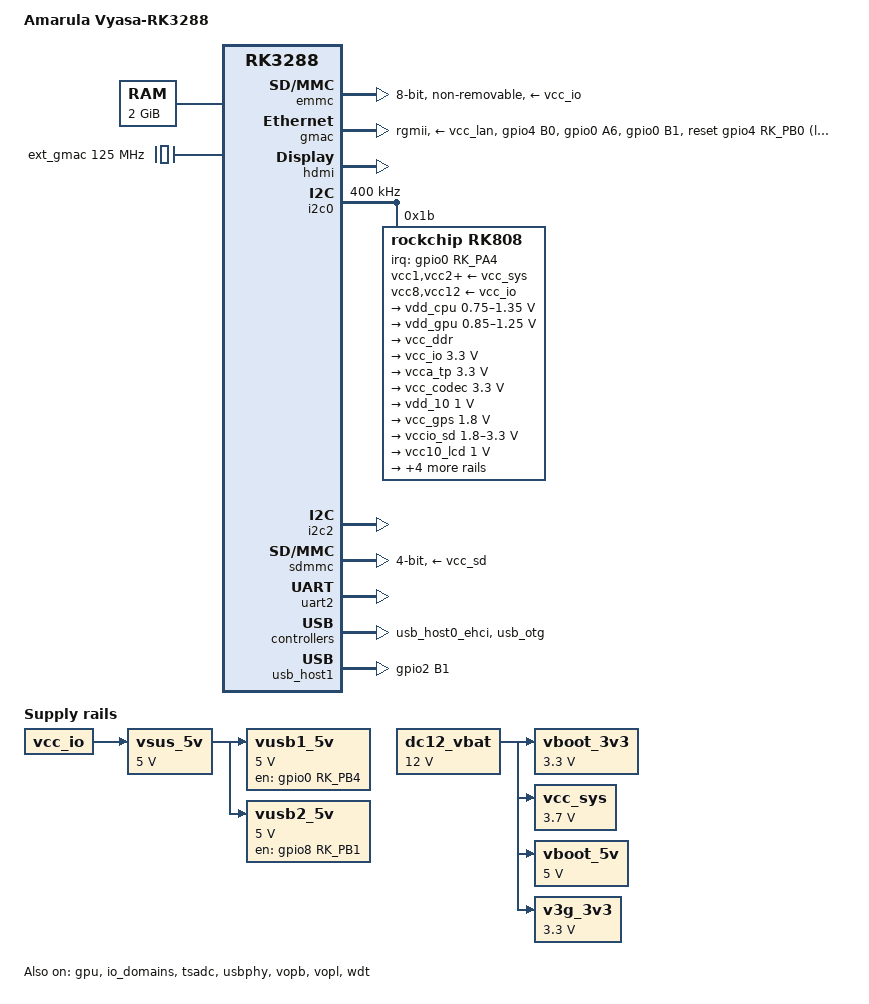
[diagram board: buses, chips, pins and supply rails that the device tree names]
// SPDX-License-Identifier: (GPL-2.0+ OR MIT)
/*
 * Copyright (C) 2017 Jagan Teki <jagan@amarulasolutions.com>
 */

/dts-v1/;
#include "rk3288.dtsi"

/ {
	model = "Amarula Vyasa-RK3288";
	compatible = "amarula,vyasa-rk3288", "rockchip,rk3288";

	chosen {
		stdout-path = &uart2;
	};

	memory {
		reg = <0x0 0x0 0x0 0x80000000>;
		device_type = "memory";
	};

	dc12_vbat: dc12-vbat {
		compatible = "regulator-fixed";
		regulator-name = "dc12_vbat";
		regulator-min-microvolt = <12000000>;
		regulator-max-microvolt = <12000000>;
		regulator-always-on;
		regulator-boot-on;
	};

	vboot_3v3: vboot-3v3 {
		compatible = "regulator-fixed";
		regulator-name = "vboot_3v3";
		regulator-min-microvolt = <3300000>;
		regulator-max-microvolt = <3300000>;
		regulator-always-on;
		regulator-boot-on;
		vin-supply = <&dc12_vbat>;
	};

	vcc_sys: vsys-regulator {
		compatible = "regulator-fixed";
		regulator-name = "vcc_sys";
		regulator-min-microvolt = <3700000>;
		regulator-max-microvolt = <3700000>;
		regulator-always-on;
		regulator-boot-on;
		vin-supply = <&dc12_vbat>;
	};

	vboot_5v: vboot-5v {
		compatible = "regulator-fixed";
		regulator-name = "vboot_sv";
		regulator-min-microvolt = <5000000>;
		regulator-max-microvolt = <5000000>;
		regulator-always-on;
		regulator-boot-on;
		vin-supply = <&dc12_vbat>;
	};

	v3g_3v3: v3g-3v3 {
		compatible = "regulator-fixed";
		regulator-name = "v3g_3v3";
		regulator-min-microvolt = <3300000>;
		regulator-max-microvolt = <3300000>;
		regulator-always-on;
		regulator-boot-on;
		vin-supply = <&dc12_vbat>;
	};

	vsus_5v: vsus-5v {
		compatible = "regulator-fixed";
		regulator-name = "vsus_5v";
		regulator-min-microvolt = <5000000>;
		regulator-max-microvolt = <5000000>;
		regulator-always-on;
		regulator-boot-on;
		vin-supply = <&vcc_io>;
	};

	vusb1_5v: vusb1-5v {
		compatible = "regulator-fixed";
		regulator-name = "vusb1_5v";
		enable-active-high;
		gpio = <&gpio0 RK_PB4 GPIO_ACTIVE_HIGH>; /* OTG_VBUS_DRV */
		pinctrl-names = "default";
		pinctrl-0 = <&otg_vbus_drv>;
		regulator-min-microvolt = <5000000>;
		regulator-max-microvolt = <5000000>;
		regulator-always-on;
		regulator-boot-on;
		vin-supply = <&vsus_5v>;
	};

	vusb2_5v: vusb2-5v {
		compatible = "regulator-fixed";
		regulator-name = "vusb2_5v";
		enable-active-high;
		gpio = <&gpio8 RK_PB1 GPIO_ACTIVE_HIGH>; /* USB2_PWR_EN */
		pinctrl-names = "default";
		pinctrl-0 = <&usb2_pwr_en>;
		regulator-min-microvolt = <5000000>;
		regulator-max-microvolt = <5000000>;
		regulator-always-on;
		regulator-boot-on;
		vin-supply = <&vsus_5v>;
	};

	ext_gmac: external-gmac-clock {
		compatible = "fixed-clock";
		#clock-cells = <0>;
		clock-frequency = <125000000>;
		clock-output-names = "ext_gmac";
	};
};

&cpu0 {
	cpu0-supply = <&vdd_cpu>;
};

&emmc {
	bus-width = <8>;
	cap-mmc-highspeed;
	non-removable;
	pinctrl-names = "default";
	pinctrl-0 = <&emmc_clk &emmc_cmd &emmc_pwr &emmc_bus8>;
	vmmc-supply = <&vcc_io>;
	status = "okay";
};

&gmac {
	assigned-clocks = <&cru SCLK_MAC>;
	assigned-clock-parents = <&ext_gmac>;
	clock_in_out = "input";
	pinctrl-names = "default";
	pinctrl-0 = <&rgmii_pins>, <&phy_rst>, <&phy_pmeb>, <&phy_int>;
	phy-supply = <&vcc_lan>;
	phy-mode = "rgmii";
	snps,reset-active-low;
	snps,reset-delays-us = <0 10000 1000000>;
	snps,reset-gpio = <&gpio4 RK_PB0 GPIO_ACTIVE_LOW>;
	tx_delay = <0x30>;
	rx_delay = <0x10>;
	status = "okay";
};

&gpu {
	mali-supply = <&vdd_gpu>;
	status = "okay";
};

&hdmi {
	ddc-i2c-bus = <&i2c2>;
	status = "okay";
};

&i2c0 {
	clock-frequency = <400000>;
	status = "okay";

	rk808: pmic@1b {
		compatible = "rockchip,rk808";
		reg = <0x1b>;
		interrupt-parent = <&gpio0>;
		interrupts = <RK_PA4 IRQ_TYPE_LEVEL_LOW>;
		#clock-cells = <1>;
		clock-output-names = "xin32k", "rk808-clkout2";
		pinctrl-names = "default";
		pinctrl-0 = <&pmic_int &global_pwroff>;
		rockchip,system-power-controller;
		wakeup-source;

		vcc1-supply = <&vcc_sys>;
		vcc2-supply = <&vcc_sys>;
		vcc3-supply = <&vcc_sys>;
		vcc4-supply = <&vcc_sys>;
		vcc6-supply = <&vcc_sys>;
		vcc7-supply = <&vcc_sys>;
		vcc8-supply = <&vcc_io>;
		vcc9-supply = <&vcc_sys>;
		vcc10-supply = <&vcc_sys>;
		vcc11-supply = <&vcc_sys>;
		vcc12-supply = <&vcc_io>;

		regulators {
			vdd_cpu: DCDC_REG1 {
				regulator-name = "vdd_arm";
				regulator-min-microvolt = <750000>;
				regulator-max-microvolt = <1350000>;
				regulator-always-on;
				regulator-boot-on;
				regulator-state-mem {
					regulator-off-in-suspend;
				};
			};

			vdd_gpu: DCDC_REG2 {
				regulator-name = "vdd_gpu";
				regulator-min-microvolt = <850000>;
				regulator-max-microvolt = <1250000>;
				regulator-always-on;
				regulator-boot-on;
				regulator-state-mem {
					regulator-on-in-suspend;
					regulator-suspend-microvolt = <1000000>;
				};
			};

			vcc_ddr: DCDC_REG3 {
				regulator-name = "vcc_ddr";
				regulator-always-on;
				regulator-boot-on;
				regulator-state-mem {
					regulator-on-in-suspend;
				};
			};

			vcc_io: DCDC_REG4 {
				regulator-name = "vcc_io";
				regulator-min-microvolt = <3300000>;
				regulator-max-microvolt = <3300000>;
				regulator-always-on;
				regulator-boot-on;
				regulator-state-mem {
					regulator-on-in-suspend;
					regulator-suspend-microvolt = <3300000>;
				};
			};

			vcca_tp: LDO_REG1 {
				regulator-name = "vcc_tp";
				regulator-min-microvolt = <3300000>;
				regulator-max-microvolt = <3300000>;
				regulator-always-on;
				regulator-boot-on;
				regulator-state-mem {
					regulator-on-in-suspend;
					regulator-suspend-microvolt = <3300000>;
				};
			};

			vcc_codec: LDO_REG2 {
				regulator-name = "vcc_codec";
				regulator-min-microvolt = <3300000>;
				regulator-max-microvolt = <3300000>;
				regulator-always-on;
				regulator-boot-on;
				regulator-state-mem {
					regulator-off-in-suspend;
				};
			};

			vdd_10: LDO_REG3 {
				regulator-name = "vdd_10";
				regulator-min-microvolt = <1000000>;
				regulator-max-microvolt = <1000000>;
				regulator-always-on;
				regulator-boot-on;
				regulator-state-mem {
					regulator-on-in-suspend;
					regulator-suspend-microvolt = <1000000>;
				};
			};

			vcc_gps: LDO_REG4 {
				regulator-name = "vcc_gps";
				regulator-min-microvolt = <1800000>;
				regulator-max-microvolt = <1800000>;
				regulator-always-on;
				regulator-boot-on;
				regulator-state-mem {
					regulator-on-in-suspend;
					regulator-suspend-microvolt = <1800000>;
				};
			};

			vccio_sd: LDO_REG5 {
				regulator-name = "vccio_sd";
				regulator-min-microvolt = <1800000>;
				regulator-max-microvolt = <3300000>;
				regulator-always-on;
				regulator-boot-on;
				regulator-state-mem {
					regulator-on-in-suspend;
					regulator-suspend-microvolt = <3300000>;
				};
			};

			vcc10_lcd: LDO_REG6 {
				regulator-name = "vcc10_lcd";
				regulator-min-microvolt = <1000000>;
				regulator-max-microvolt = <1000000>;
				regulator-always-on;
				regulator-boot-on;
				regulator-state-mem {
					regulator-on-in-suspend;
					regulator-suspend-microvolt = <1800000>;
				};
			};

			vcc_18: LDO_REG7 {
				regulator-name = "vcc_18";
				regulator-min-microvolt = <1800000>;
				regulator-max-microvolt = <1800000>;
				regulator-always-on;
				regulator-boot-on;
				regulator-state-mem {
					regulator-on-in-suspend;
					regulator-suspend-microvolt = <1800000>;
				};
			};

			vcc18_lcd: LDO_REG8 {
				regulator-name = "vcc18_lcd";
				regulator-min-microvolt = <1800000>;
				regulator-max-microvolt = <1800000>;
				regulator-always-on;
				regulator-boot-on;
				regulator-state-mem {
					regulator-on-in-suspend;
					regulator-suspend-microvolt = <1800000>;
				};
			};

			vcc_sd: SWITCH_REG1 {
				regulator-name = "vcc_sd";
				regulator-min-microvolt = <3300000>;
				regulator-max-microvolt = <3300000>;
				regulator-always-on;
				regulator-boot-on;
				regulator-state-mem {
					regulator-on-in-suspend;
				};
			};

			vcc_lan: SWITCH_REG2 {
				regulator-name = "vcc_lan";
				regulator-min-microvolt = <3300000>;
				regulator-max-microvolt = <3300000>;
				regulator-always-on;
				regulator-boot-on;
				regulator-state-mem {
					regulator-on-in-suspend;
				};
			};
		};
	};
};

&i2c2 {
	status = "okay";
};

&io_domains {
	status = "okay";

	audio-supply = <&vcc_18>;
	bb-supply = <&vcc_io>;
	dvp-supply = <&vcc_io>;
	flash0-suuply = <&vcc_18>;
	flash1-supply = <&vcc_lan>;
	gpio30-supply = <&vcc_io>;
	gpio1830 = <&vcc_io>;
	lcdc-supply = <&vcc_io>;
	sdcard-supply = <&vccio_sd>;
	wifi-supply = <&vcc_18>;
};

&sdmmc {
	bus-width = <4>;
	cap-mmc-highspeed;
	cap-sd-highspeed;
	card-detect-delay = <200>;
	disable-wp;
	pinctrl-names = "default";
	pinctrl-0 = <&sdmmc_clk>, <&sdmmc_cmd>, <&sdmmc_cd>, <&sdmmc_bus4>;
	vmmc-supply = <&vcc_sd>;
	vqmmc-supply = <&vccio_sd>;
	status = "okay";
};

&tsadc {
	rockchip,hw-tshut-mode = <1>; /* tshut mode 0:CRU 1:GPIO */
	rockchip,hw-tshut-polarity = <1>; /* tshut polarity 0:LOW 1:HIGH */
	status = "okay";
};

&uart2 {
	status = "okay";
};

&usbphy {
	status = "okay";
};

&usb_host0_ehci {
	status = "okay";
};

&usb_host1 {
	pinctrl-names = "default";
	pinctrl-0 = <&phy_pwr_en>;
	status = "okay";
};

&usb_otg {
	status = "okay";
};

&vopb {
	status = "okay";
};

&vopb_mmu {
	status = "okay";
};

&vopl {
	status = "okay";
};

&vopl_mmu {
	status = "okay";
};

&wdt {
	status = "okay";
};

&pinctrl {
	pcfg_output_high: pcfg-output-high {
		output-high;
	};

	gmac {
		phy_int: phy-int {
			rockchip,pins = <0 RK_PB1 RK_FUNC_GPIO &pcfg_pull_up>;
		};

		phy_pmeb: phy-pmeb {
			rockchip,pins = <0 RK_PA6 RK_FUNC_GPIO &pcfg_pull_up>;
		};

		phy_rst: phy-rst {
			rockchip,pins = <4 RK_PB0 RK_FUNC_GPIO &pcfg_output_high>;
		};
	};

	pmic {
		pmic_int: pmic-int {
			rockchip,pins = <0 RK_PA4 RK_FUNC_GPIO &pcfg_pull_up>;
		};
	};

	usb_host {
		phy_pwr_en: phy-pwr-en {
			rockchip,pins = <2 RK_PB1 RK_FUNC_GPIO &pcfg_output_high>;
		};

		usb2_pwr_en: usb2-pwr-en {
			rockchip,pins = <8 RK_PB1 RK_FUNC_GPIO &pcfg_pull_none>;
		};
	};

	usb_otg {
		otg_vbus_drv: otg-vbus-drv {
			rockchip,pins = <0 RK_PB4 RK_FUNC_GPIO &pcfg_pull_none>;

		};
	};
};
